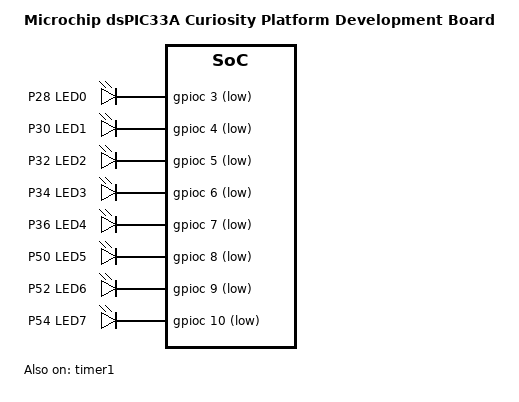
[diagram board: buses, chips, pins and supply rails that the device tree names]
/*
 * SPDX-FileCopyrightText: Copyright (c) 2026 Microchip Technology Inc.
 * SPDX-License-Identifier: Apache-2.0
 */

/dts-v1/;
#include <dspic/dspic33ak_mc/p33ak128mc106.dtsi>
#include <zephyr/dt-bindings/gpio/gpio.h>

/ {
	model = "Microchip dsPIC33A Curiosity Platform Development Board";
	compatible = "microchip,dspic33a-curiosity-p33ak128mc106";

	chosen {
		zephyr,flash = &flash0;
		zephyr,sram = &sram0;
	};

	leds {
		compatible = "gpio-leds";

		led0: led-0 {
			gpios = <&gpioc 3 GPIO_ACTIVE_LOW>;
			label = "P28 LED0";
		};

		led1: led-1 {
			gpios = <&gpioc 4 GPIO_ACTIVE_LOW>;
			label = "P30 LED1";
		};

		led2: led-2 {
			gpios = <&gpioc 5 GPIO_ACTIVE_LOW>;
			label = "P32 LED2";
		};

		led3: led-3 {
			gpios = <&gpioc 6 GPIO_ACTIVE_LOW>;
			label = "P34 LED3";
		};

		led4: led-4 {
			gpios = <&gpioc 7 GPIO_ACTIVE_LOW>;
			label = "P36 LED4";
		};

		led5: led-5 {
			gpios = <&gpioc 8 GPIO_ACTIVE_LOW>;
			label = "P50 LED5";
		};

		led6: led-6 {
			gpios = <&gpioc 9 GPIO_ACTIVE_LOW>;
			label = "P52 LED6";
		};

		led7: led-7 {
			gpios = <&gpioc 10 GPIO_ACTIVE_LOW>;
			label = "P54 LED7";
		};
	};

	aliases {
		led0 = &led0;
		led1 = &led1;
		led2 = &led2;
		led3 = &led3;
		led4 = &led4;
		led5 = &led5;
		led6 = &led6;
		led7 = &led7;
	};
};

&cpu0 {
	clock-frequency = <8000000>;
	status = "okay";
	cpu-power-states = <&idle>;
};

&timer1 {
	status = "okay";
};
